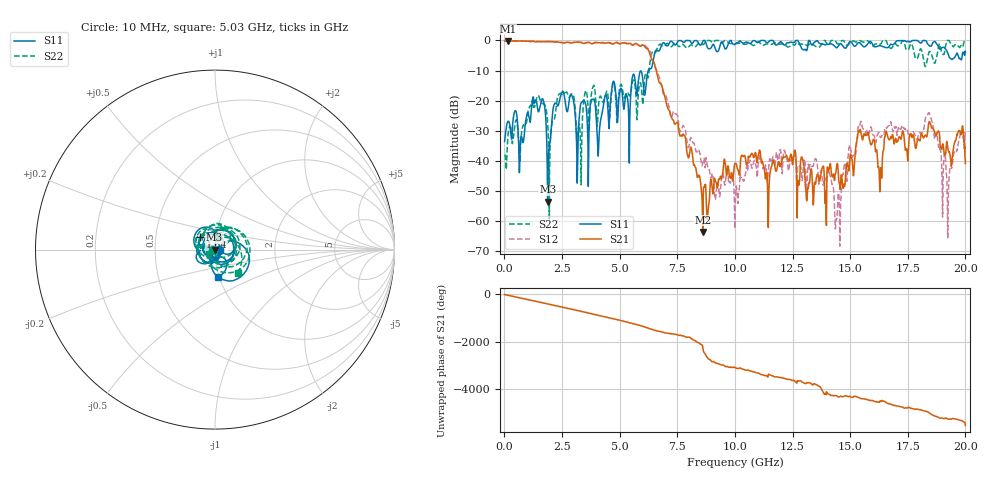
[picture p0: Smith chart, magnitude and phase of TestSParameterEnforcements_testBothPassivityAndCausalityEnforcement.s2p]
! File created by SignalIntegrity v1.1.9: Signal and Power Integrity Tools
! https://github.com/TeledyneLeCroy/SignalIntegrity
# MHz MA S R 50.0
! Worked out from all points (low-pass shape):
!   2000 points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, 10 MHz to 20 GHz, reference 50 ohm
!   highest |S21| = -0.13 dB at 160 MHz (marker M1); lowest = -63.6 dB at 8.61 GHz (marker M2)
!   |S21| within 3 dB of the highest: start of sweep to 6.245 GHz
!   lowest |S11| = -53.6 dB at 1.88 GHz (marker M3), VSWR 1.00, Z = 49.8 + j0.000691 ohm
!   |S11| at or under -10 dB: start of sweep to 6.24 GHz
!   |S22| runs from -59.3 to 0.0 dB; largest |S21 - S12| = 0.1
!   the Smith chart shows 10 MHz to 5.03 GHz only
!   S11 on the Smith chart (normalised r, x): 10 MHz: 1.04, -0.00; 1.64 GHz: 0.84, +0.12; 5.03 GHz: 0.98, -0.31
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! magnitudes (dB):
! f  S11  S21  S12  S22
! 10 MHz  -33.6  -0.2  -0.2  -37.9
! 160 MHz  -26.9  -0.1  -0.1  -31.2
! 730 MHz  -31.9  -0.2  -0.2  -31.7
! 1.64 GHz  -19.4  -0.4  -0.4  -20.8
! 1.88 GHz  -53.6  -0.4  -0.4  -27.7
! 2.63 GHz  -19.8  -0.7  -0.7  -17.3
! 3.16 GHz  -47.4  -0.6  -0.6  -34.3
! 3.35 GHz  -20.6  -0.7  -0.7  -35.3
! 3.51 GHz  -20.8  -0.9  -0.8  -17.2
! 4.09 GHz  -35.1  -0.7  -0.6  -21.1
! 5.03 GHz  -16.2  -1.1  -0.9  -14.9
! 6.68 GHz  -3.5  -13.0  -11.3  -1.8
! 8.61 GHz  -0.3  -63.6  -40.6  -1.4
! 10.01 GHz  -1.3  -40.8  -58.1  -1.1
! 13.34 GHz  -1.5  -44.0  -41.8  -1.2
! 14.46 GHz  -2.1  -41.5  -53.3  -1.2
! 15.42 GHz  -0.8  -29.8  -28.4  -0.1
! 16.29 GHz  -1.8  -50.3  -31.7  -1.3
! 16.67 GHz  -2.2  -32.8  -28.3  -2.1
! 18.43 GHz  -1.7  -27.0  -24.1  -3.8
! 19.26 GHz  -4.7  -36.6  -52.7  0.0
! 20 GHz  -3.9  -40.9  -31.5  0.0
